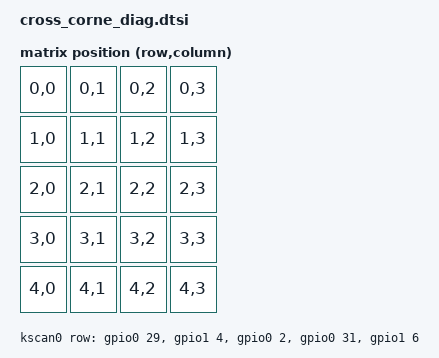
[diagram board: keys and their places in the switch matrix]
#include <dt-bindings/zmk/matrix_transform.h>

/ {
    chosen {
        zmk,kscan = &kscan0;
        zmk,matrix_transform = &default_transform;
    };

    default_transform: keymap_transform_0 {
        compatible = "zmk,matrix-transform";
        columns = <4>;
        rows = <5>;
        map = <
            RC(0,0) RC(0,1) RC(0,2) RC(0,3)
            RC(1,0) RC(1,1) RC(1,2) RC(1,3)
            RC(2,0) RC(2,1) RC(2,2) RC(2,3)
            RC(3,0) RC(3,1) RC(3,2) RC(3,3)
            RC(4,0) RC(4,1) RC(4,2) RC(4,3)
        >;
    };

    kscan0: kscan {
        compatible = "zmk,kscan-gpio-matrix";
        label = "KSCAN";
        diode-direction = "row2col";
        row-gpios
            = <&gpio0 29 GPIO_ACTIVE_HIGH>
            , <&gpio1 4  GPIO_ACTIVE_HIGH>
            , <&gpio0 2  GPIO_ACTIVE_HIGH>
            , <&gpio0 31 GPIO_ACTIVE_HIGH>
            , <&gpio1 6  GPIO_ACTIVE_HIGH>
            ;
    };
};
